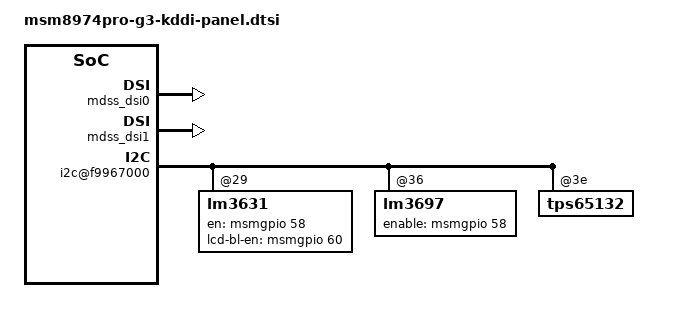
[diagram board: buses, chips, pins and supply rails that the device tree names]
/* Copyright (c) 2013, LGE Electronics. All rights reserved.
 *
 * This program is free software; you can redistribute it and/or modify
 * it under the terms of the GNU General Public License version 2 and
 * only version 2 as published by the Free Software Foundation.
 *
 * This program is distributed in the hope that it will be useful,
 * but WITHOUT ANY WARRANTY; without even the implied warranty of
 * MERCHANTABILITY or FITNESS FOR A PARTICULAR PURPOSE.  See the
 * GNU General Public License for more details.
 */

&mdss_dsi0 {
	status = "ok";
	lge,num-of-dsv-enable-gpio = <
		0 0  // evb1  = 0 ; evb2  = 0
		0 0  // rev_a = 0 ; rev_a1 = 0
		2 2  // rev_b = 1 ; rev_c = 1
		2 2  // rev_d = 0 ; rev_e = 1
		2 2  // rev_f = 1 ; rev_g = 1
		2 2  // rev_10 = 1; rev_11 = 1
		2     // rev_12 = 1
		>;
};

&mdss_dsi1 {
	status = "ok";
	qcom,platform-enable-gpio = <&msmgpio 58 1>, // HW_REV_EVB1
		<&msmgpio 58 1>, // HW_REV_EVB2
		<&msmgpio 60 1>, // HW_REV_A
		<&msmgpio 60 1>, // HW_REV_A1
		<&msmgpio 60 1>, // HW_REV_B
		<&msmgpio 60 1>, // HW_REV_C
		<&msmgpio 60 1>, // HW_REV_D
		<&msmgpio 60 1>, // HW_REV_E
		<&msmgpio 60 1>, // HW_REV_F
		<&msmgpio 60 1>, // HW_REV_G
		<&msmgpio 60 1>, // HW_REV_H
		<&msmgpio 60 1>, // HW_REV_1.0
		<&msmgpio 60 1>, // HW_REV_1.1
		<&msmgpio 60 1>; // HW_REV_1.2

	lge,platform-enable-gpio2 = <&msmgpio 25 1>;

	lge,num-of-dsv-enable-gpio = <
		0 0  // evb1  = 0 ; evb2  = 0
		0 0  // rev_a = 0 ; rev_a1 = 0
		2 2  // rev_b = 1 ; rev_c = 1
		2 2  // rev_d = 0 ; rev_e = 1
		2 2  // rev_f = 1 ; rev_g = 1
		2 2  // rev_10 = 1; rev_11 = 1
		2     // rev_12 = 1
		>;
};
&soc {

	i2c@f9967000 {
		lm3631@29{
			status = "ok";
			revision = "rev_a...rev_a1";
			ti,en-gpio = <&msmgpio 58 0x00>;
			ti,lcd-bl-en = <&msmgpio 60 0x00>;
		};
		lm3697@36 {
			status = "ok";
			revision = "rev_b...";
			ti,enable-gpio = <&msmgpio 58 0x00>;
			lcd_bl {
				lge,hvled = <
					12 12  // evb1  = hvled1, hvled2  ; evb2  = hvled1, hvled2
					12 12  // rev_a = hvled1, hvled2 ; rev_a1 = hvled1, hvled2
					12 12  // rev_b = hvled1, hvled2 ; rev_c = hvled1, hvled2
					12 12  // rev_d = hvled1, hvled2 ; rev_e = hvled1, hvled2
					12 12  // rev_g = hvled1, hvled2 ; rev_h = hvled1, hvled2
					12 12  // rev_10 = hvled1, hvled2 ; rev_11 = hvled1, hvled2
					12     // rev_12 = hvled1, hvled2
					>;
			};
		};
		tps65132@3e {
			status = "ok";
			revision = "rev_b...";
		};
	};
};
